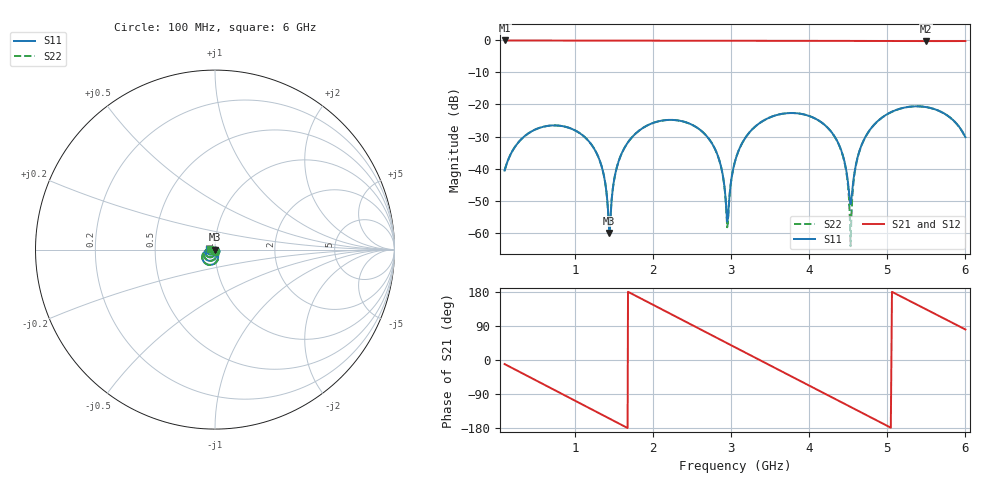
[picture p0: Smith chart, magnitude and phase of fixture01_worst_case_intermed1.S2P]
!Generated from: D:\Work\cadence_lib\blocks_symbols\fixture01_worst_case_intermed1.spd
! Port1::OUT
! Port2::OUT
!PowerSI Version: 16.0.0.02091.0  000
!Computer Host Name: DESKTOP-JQNU4CJ
!TouchstoneFormatFlag = 1
! GNDNET GND
! NETSLIST
!ENCODED_BEGIN
!0889B71221DAF54192BECE6985861F1178E3CF1522971D6992DC39A223786694703D55A53EC5558E184E2ACE
!ENCODED_END
#	Hz	S	RI	R	50
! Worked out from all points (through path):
!   868 points, 100 MHz to 6 GHz, reference 50 ohm
!   highest |S21| = -0.01 dB at 100 MHz (marker M1); lowest = -0.2 dB at 5.495 GHz (marker M2)
!   group delay of S21, straight-line fit = 296 ps
!   lowest |S11| = -60.1 dB at 1.44 GHz (marker M3), VSWR 1.00, Z = 49.9 - j0.0189 ohm
!   |S11| at or under -10 dB: start of sweep to end of sweep
!   |S22| runs from -64.2 to -20.6 dB; largest |S21 - S12| = 0
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1e8  -0.000522 -0.00928  0.9808 -0.187  0.9808 -0.187  -0.000521 -0.00928
5e8  -0.0318 -0.0259  0.5891 -0.8022  0.5891 -0.8022  -0.0318 -0.026
1.085e9  -0.0312 0.0136  -0.4401 -0.8903  -0.4401 -0.8903  -0.0313 0.0136
1.33e9  -0.00827 0.00882  -0.7882 -0.6038  -0.7882 -0.6038  -0.0083 0.0088
1.39e9  -0.00384 0.00432  -0.8507 -0.5116  -0.8507 -0.5116  -0.00388 0.0043
1.44e9  -0.00097 -0.00019  -0.8946 -0.4299  -0.8946 -0.4299  -0.00101 -0.00021
1.515e9  0.00168 -0.00787  -0.9457 -0.3005  -0.9457 -0.3005  0.00163 -0.00789
1.615e9  0.00173 -0.0188  -0.9846 -0.1194  -0.9846 -0.1194  0.00168 -0.0188
2.07e9  -0.0359 -0.0411  -0.7381 0.6585  -0.7381 0.6585  -0.036 -0.041
2.39e9  -0.0522 -0.0143  -0.2411 0.9583  -0.2411 0.9583  -0.0522 -0.0141
2.69e9  -0.0307 0.00839  0.3037 0.9403  0.3037 0.9403  -0.0306 0.00866
2.84e9  -0.0129 0.0069  0.5516 0.8198  0.5516 0.8198  -0.0127 0.00714
2.95e9  -0.0013 -0.000687  0.707 0.69  0.707 0.69  -0.00111 -0.000497
3.05e9  0.00603 -0.0114  0.8224 0.5467  0.8224 0.5467  0.00623 -0.0113
3.42e9  -0.00631 -0.0562  0.9798 -0.1008  0.9798 -0.1008  -0.00639 -0.0561
4.04e9  -0.0596 -0.0214  0.308 -0.9331  0.308 -0.9331  -0.06 -0.0202
4.37e9  -0.0248 0.00479  -0.2847 -0.9411  -0.2847 -0.9411  -0.0242 0.00668
4.53e9  -0.00157 -0.0023  -0.5479 -0.8161  -0.5479 -0.8161  -0.000355 -0.000501
4.69e9  0.0144 -0.0221  -0.7624 -0.6191  -0.7624 -0.6191  0.0161 -0.0207
5.03e9  0.00194 -0.074  -0.9773 -0.0509  -0.9773 -0.0509  0.00362 -0.0739
5.495e9  -0.0651 -0.0639  -0.677 0.7026  -0.677 0.7026  -0.0654 -0.0634
6e9  -0.0309 0.000643  0.1596 0.9643  0.1596 0.9643  -0.0301 0.005
